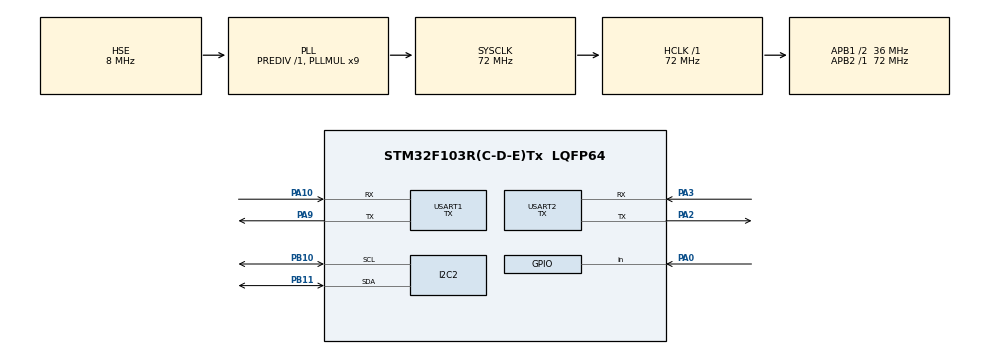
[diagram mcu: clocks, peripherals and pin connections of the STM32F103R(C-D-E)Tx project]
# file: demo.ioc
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I2C2.I2C_Mode=I2C_Standard
I2C2.NoStretchMode=I2C_NOSTRETCH_DISABLE
Mcu.Family=STM32F1
Mcu.Name=STM32F103R(C-D-E)Tx
Mcu.Package=LQFP64
NVIC.PriorityGroup=NVIC_PRIORITYGROUP_4
NVIC.USART1_IRQn=true\:0\:0\:false\:false\:true\:true\:true
PA0-WKUP.GPIO_PuPd=GPIO_PULLDOWN
PA0-WKUP.Signal=GPIO_Input
PA10.Mode=Asynchronous
PA10.Signal=USART1_RX
PA13.Mode=Serial_Wire
PA13.Signal=SYS_JTMS-SWDIO
PA14.Mode=Serial_Wire
PA14.Signal=SYS_JTCK-SWCLK
PA2.Mode=Asynchronous
PA2.Signal=USART2_TX
PA3.Mode=Asynchronous
PA3.Signal=USART2_RX
PA9.Mode=Asynchronous
PA9.Signal=USART1_TX
PB10.Mode=I2C
PB10.Signal=I2C2_SCL
PB11.Mode=I2C
PB11.Signal=I2C2_SDA
PD0-OSC_IN.Mode=HSE-External-Oscillator
PD0-OSC_IN.Signal=RCC_OSC_IN
PD1-OSC_OUT.Mode=HSE-External-Oscillator
PD1-OSC_OUT.Signal=RCC_OSC_OUT
ProjectManager.HeapSize=0x200
ProjectManager.StackSize=0x400
ProjectManager.TargetToolchain=MDK-ARM V5
RCC.AHBFreq_Value=72000000
RCC.APB1CLKDivider=RCC_HCLK_DIV2
RCC.APB1Freq_Value=36000000
RCC.APB1TimFreq_Value=72000000
RCC.APB2Freq_Value=72000000
RCC.APB2TimFreq_Value=72000000
RCC.HCLKFreq_Value=72000000
RCC.PLLMUL=RCC_PLL_MUL9
RCC.PLLSourceVirtual=RCC_PLLSOURCE_HSE
RCC.SYSCLKFreq_VALUE=72000000
RCC.SYSCLKSource=RCC_SYSCLKSOURCE_PLLCLK
RCC.USBFreq_Value=72000000
USART1.Mode=MODE_TX
USART1.VirtualMode=VM_ASYNC
USART2.Mode=MODE_TX
USART2.VirtualMode=VM_ASYNC
board=custom

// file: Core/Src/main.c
/* USER CODE BEGIN Header */
/**
 ******************************************************************************
 * @file           : main.c
 * @brief          : Main program body
 ******************************************************************************
 * @attention
 *
 * <h2><center>&copy; Copyright (c) 2022 STMicroelectronics.
 * All rights reserved.</center></h2>
 *
 * This software component is licensed by ST under BSD 3-Clause license,
 * the "License"; You may not use this file except in compliance with the
 * License. You may obtain a copy of the License at:
 *                        opensource.org/licenses/BSD-3-Clause
 *
 ******************************************************************************
 */
/* USER CODE END Header */
#include "main.h"
#include "gpio.h"
#include "i2c.h"
#include "usart.h"

/* USER CODE BEGIN Includes */
#include "AXP173/axp173.h"
/* USER CODE END Includes */

void SystemClock_Config(void);

/* USER CODE BEGIN 0 */

#define IsKeyPress() (HAL_GPIO_ReadPin(GPIOA, GPIO_PIN_0) == GPIO_PIN_SET)  // PA0

/* USER CODE END 0 */

int main(void) {

    /* MCU Configuration--------------------------------------------------------*/

    /* Reset of all peripherals, Initializes the Flash interface and the Systick. */
    HAL_Init();

    /* Configure the system clock */
    SystemClock_Config();

    /* Initialize all configured peripherals */
    MX_GPIO_Init();
    MX_USART1_UART_Init();
    MX_I2C2_Init();
    MX_USART2_UART_Init();

    /* Infinite loop */
    /* USER CODE BEGIN WHILE */
    printf("[status:%d]\r\n", AXP173_Init());
    /* Set off time */
    AXP173_SetPowerOffTime(AXP173_POWEROFF_4S);
    /* Enable and set LDO2 voltage */
    AXP173_SetOutputEnable(AXP173_OP_LDO2, 1);
    AXP173_SetOutputVoltage(AXP173_OP_LDO2, 3000);
    /* Enable and set LDO3 voltage */
    AXP173_SetOutputEnable(AXP173_OP_LDO3, 1);
    AXP173_SetOutputVoltage(AXP173_OP_LDO3, 3100);
    /* Enable and set LDO4 voltage */
    AXP173_SetOutputEnable(AXP173_OP_LDO4, 1);
    AXP173_SetOutputVoltage(AXP173_OP_LDO4, 3200);
    /* Enable and set DCDC1 voltage */
    AXP173_SetOutputEnable(AXP173_OP_DCDC1, 1);
    AXP173_SetOutputVoltage(AXP173_OP_DCDC1, 3300);
    /* Enable and set DCDC2 voltage */
    AXP173_SetOutputEnable(AXP173_OP_DCDC2, 1);
    AXP173_SetOutputVoltage(AXP173_OP_DCDC2, 2275);
    /* Enable VBUS ADC */
    AXP173_SetADCEnable(AXP173_ADC_VBUS_V, 1);
    AXP173_SetADCEnable(AXP173_ADC_VBUS_C, 1);
    /* Enable BAT ADC */
    AXP173_SetADCEnable(AXP173_ADC_BAT_V, 1);
    AXP173_SetADCEnable(AXP173_ADC_BAT_C, 1);
    /* Enable charge */
    AXP173_SetChargeCurrent(AXP173_CHG_450mA);
    AXP173_SetChargeLedFre(AXP173_CHARGE_LED_4HZ);
    AXP173_SetChargeEnable(1);
    while (1) {
        /* Get PMU info */
        float temp         = AXP173_GetAXP173Temp();
        float vbus_voltage = AXP173_GetVBUSVoltage();
        float vbus_current = AXP173_GetVBUSCurrent();
        float bat_voltage  = AXP173_GetBatVoltage();
        float bat_current  = AXP173_GetBatCurrent();
        printf("temp :%.2f C, vbus_voltage :%.2f V, vbus_current :%.2f mA, bat_voltage :%.2f V, bat_current :%.2f mA\r\n", temp, vbus_voltage, vbus_current, bat_voltage, bat_current);
        HAL_Delay(200);

        HAL_GPIO_ReadPin(GPIOA, GPIO_PIN_0);
        if (IsKeyPress()) {
            HAL_Delay(5);
            if (IsKeyPress()) {
                AXP173_PowerOFF();
                while (IsKeyPress())
                    ;
            }
        }
        /* USER CODE END WHILE */

    }
}

void SystemClock_Config(void) {
    RCC_OscInitTypeDef RCC_OscInitStruct = {0};
    RCC_ClkInitTypeDef RCC_ClkInitStruct = {0};

    /** Initializes the RCC Oscillators according to the specified parameters
     * in the RCC_OscInitTypeDef structure.
     */
    RCC_OscInitStruct.OscillatorType = RCC_OSCILLATORTYPE_HSE;
    RCC_OscInitStruct.HSEState       = RCC_HSE_ON;
    RCC_OscInitStruct.HSEPredivValue = RCC_HSE_PREDIV_DIV1;
    RCC_OscInitStruct.HSIState       = RCC_HSI_ON;
    RCC_OscInitStruct.PLL.PLLState   = RCC_PLL_ON;
    RCC_OscInitStruct.PLL.PLLSource  = RCC_PLLSOURCE_HSE;
    RCC_OscInitStruct.PLL.PLLMUL     = RCC_PLL_MUL9;
    if (HAL_RCC_OscConfig(&RCC_OscInitStruct) != HAL_OK) {
        Error_Handler();
    }
    /** Initializes the CPU, AHB and APB buses clocks
     */
    RCC_ClkInitStruct.ClockType      = RCC_CLOCKTYPE_HCLK | RCC_CLOCKTYPE_SYSCLK | RCC_CLOCKTYPE_PCLK1 | RCC_CLOCKTYPE_PCLK2;
    RCC_ClkInitStruct.SYSCLKSource   = RCC_SYSCLKSOURCE_PLLCLK;
    RCC_ClkInitStruct.AHBCLKDivider  = RCC_SYSCLK_DIV1;
    RCC_ClkInitStruct.APB1CLKDivider = RCC_HCLK_DIV2;
    RCC_ClkInitStruct.APB2CLKDivider = RCC_HCLK_DIV1;

    if (HAL_RCC_ClockConfig(&RCC_ClkInitStruct, FLASH_LATENCY_2) != HAL_OK) {
        Error_Handler();
    }
}

void Error_Handler(void) {
}

/************************ (C) COPYRIGHT STMicroelectronics *****END OF FILE****/
